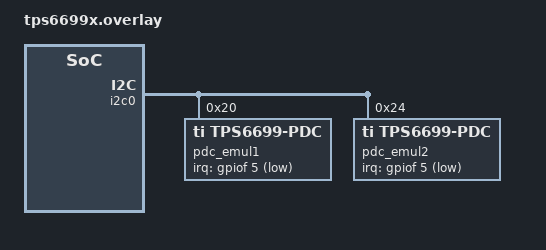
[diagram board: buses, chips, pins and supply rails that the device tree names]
/* Copyright 2024 The ChromiumOS Authors
 * Use of this source code is governed by a BSD-style license that can be
 * found in the LICENSE file.
 */

#include "native_sim.overlay"

/{
        /* Leverage 'zephyr,user' node for driver specific behavior */
        zephyr,user {
                test_timeout = <750>;
                /* TI PDC Info */
                pd_version = <0>;
                pd_revision = <0>;
                project_name = "GOOG";
        };
};

&i2c0 {
        pdc_emul1: tps6699-pdc@20 {
                compatible = "ti,tps6699-pdc";
                reg = <0x20>;
                irq-gpios = <&gpiof 5 GPIO_ACTIVE_LOW>;
        };

        pdc_emul2: tps6699-pdc@24 {
                compatible = "ti,tps6699-pdc";
                reg = <0x24>;
                irq-gpios = <&gpiof 5 GPIO_ACTIVE_LOW>;
        };
};
